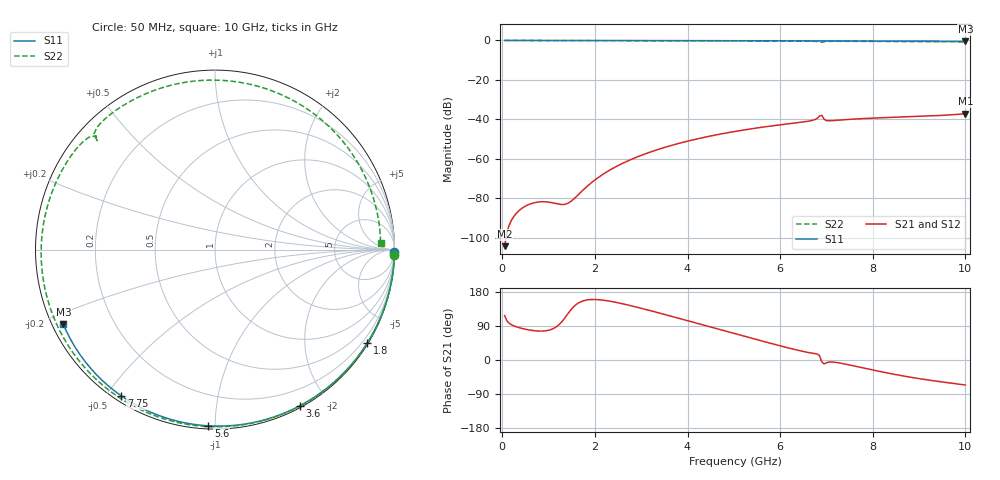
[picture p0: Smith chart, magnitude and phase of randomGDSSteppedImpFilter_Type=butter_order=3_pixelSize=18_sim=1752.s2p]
! freq	dB(S11)	phase(S11)	dB(S12)	phase(S12)
!  dB(S21)	phase(S21)	dB(S22)	phase(S22)
!S-par simulation data
#  GHz  S  DB  R 50
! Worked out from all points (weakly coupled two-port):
!   200 points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, 50 MHz to 10 GHz, reference 50 ohm
!   highest |S21| = -37.20 dB at 10 GHz (marker M1); lowest = -104.4 dB at 50 MHz (marker M2)
!   lowest |S11| = -0.5 dB at 10 GHz (marker M3), VSWR 33.52, Z = 1.57 - j11.7 ohm
!   |S11| at or under -10 dB: nowhere
!   |S22| runs from -1.0 to 0.0 dB; largest |S21 - S12| = 0
!   S11 on the Smith chart (normalised r, x): 50 MHz: open; 1.8 GHz: 0.03, -3.54; 3.6 GHz: 0.02, -1.68; 5.6 GHz: 0.02, -0.96; 7.75 GHz: 0.02, -0.55; 10 GHz: 0.03, -0.23
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0.05  -0.00 -0.9  -104.39 117.4  -104.39 117.4  -0.00 -1.8
0.75  -0.02 -13.3  -82.08 76.7  -82.08 76.7  -0.03 -26.3
1.55  -0.03 -27.2  -80.32 141.6  -80.32 141.6  -0.07 -53.5
1.75  -0.04 -30.7  -75.78 156.2  -75.78 156.2  -0.08 -60.1
1.8  -0.04 -31.5  -74.69 157.8  -74.69 157.8  -0.08 -61.7
2.1  -0.05 -36.6  -69.09 158.9  -69.09 158.9  -0.09 -71.5
2.45  -0.05 -42.6  -64.11 152.2  -64.11 152.2  -0.10 -82.7
3.4  -0.08 -58.2  -55.04 123.7  -55.04 123.7  -0.14 -112.1
3.6  -0.08 -61.4  -53.62 117.1  -53.62 117.1  -0.15 -118.2
4.35  -0.10 -73.2  -49.22 91.9  -49.22 91.9  -0.19 -140.8
5.05  -0.13 -83.9  -46.07 68.5  -46.07 68.5  -0.23 -162.1
5.6  -0.15 -92.1  -44.07 50.3  -44.07 50.3  -0.28 -179.4
6.2  -0.18 -100.8  -42.25 31.2  -42.25 31.2  -0.33 160.8
6.7  -0.21 -108.0  -40.54 17.9  -40.54 17.9  -0.42 142.6
6.9  -0.22 -110.8  -37.99 -5.1  -37.99 -5.1  -0.98 137.2
7  -0.23 -112.2  -40.67 -7.2  -40.67 -7.2  -0.48 134.0
7.75  -0.28 -122.6  -39.69 -19.8  -39.69 -19.8  -0.47 103.0
8.35  -0.34 -130.9  -39.09 -35.1  -39.09 -35.1  -0.52 77.2
8.8  -0.38 -137.1  -38.72 -45.1  -38.72 -45.1  -0.57 56.9
9.25  -0.43 -143.3  -38.31 -53.7  -38.31 -53.7  -0.61 36.3
9.65  -0.47 -148.8  -37.80 -60.4  -37.80 -60.4  -0.65 18.0
10  -0.52 -153.7  -37.20 -66.0  -37.20 -66.0  -0.69 2.4
